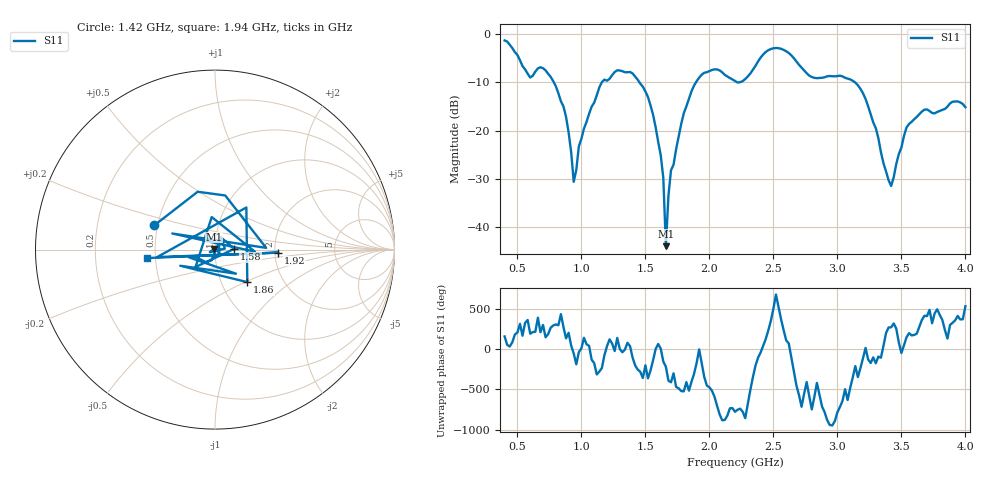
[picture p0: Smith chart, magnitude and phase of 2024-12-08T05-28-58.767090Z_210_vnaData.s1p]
!Created with skrf (http://scikit-rf.org).
# Hz S RI R 50.0
!freq ReS11 ImS11
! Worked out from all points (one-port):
!   181 points, 400 MHz to 4 GHz, reference 50 ohm
!   lowest |S11| = -44.0 dB at 1.66 GHz (marker M1), VSWR 1.01, Z = 49.5 + j0.395 ohm
!   |S11| at or under -10 dB: 784.7 MHz to 1.159 GHz (374.4 MHz wide, 38.5 % of centre); 1.453 GHz to 1.895 GHz (441.4 MHz wide, 26.4 % of centre); 3.137 GHz to end of sweep (the widest 3 of 4)
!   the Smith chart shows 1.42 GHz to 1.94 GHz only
!   S11 on the Smith chart (normalised r, x): 1.42 GHz: 0.48, +0.15; 1.58 GHz: 1.24, +0.01; 1.86 GHz: 1.33, -0.51; 1.92 GHz: 2.09, -0.08; 1.94 GHz: 0.45, -0.05
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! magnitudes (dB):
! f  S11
! 400 MHz  -1.3
! 600 MHz  -9.0
! 720 MHz  -7.5
! 860 MHz  -15.0
! 900 MHz  -20.4
! 940 MHz  -30.7
! 980 MHz  -23.3
! 1.14 GHz  -11.0
! 1.3 GHz  -7.5
! 1.42 GHz  -8.8
! 1.58 GHz  -19.3
! 1.64 GHz  -29.9
! 1.66 GHz  -44.0
! 1.68 GHz  -33.5
! 1.7 GHz  -28.3
! 1.76 GHz  -21.3
! 1.86 GHz  -11.9
! 1.92 GHz  -9.0
! 1.94 GHz  -8.4
! 2.2 GHz  -9.7
! 2.48 GHz  -3.1
! 2.66 GHz  -5.0
! 2.8 GHz  -8.9
! 3.1 GHz  -9.4
! 3.22 GHz  -13.4
! 3.42 GHz  -31.5
! 3.56 GHz  -18.6
! 4 GHz  -15.2
